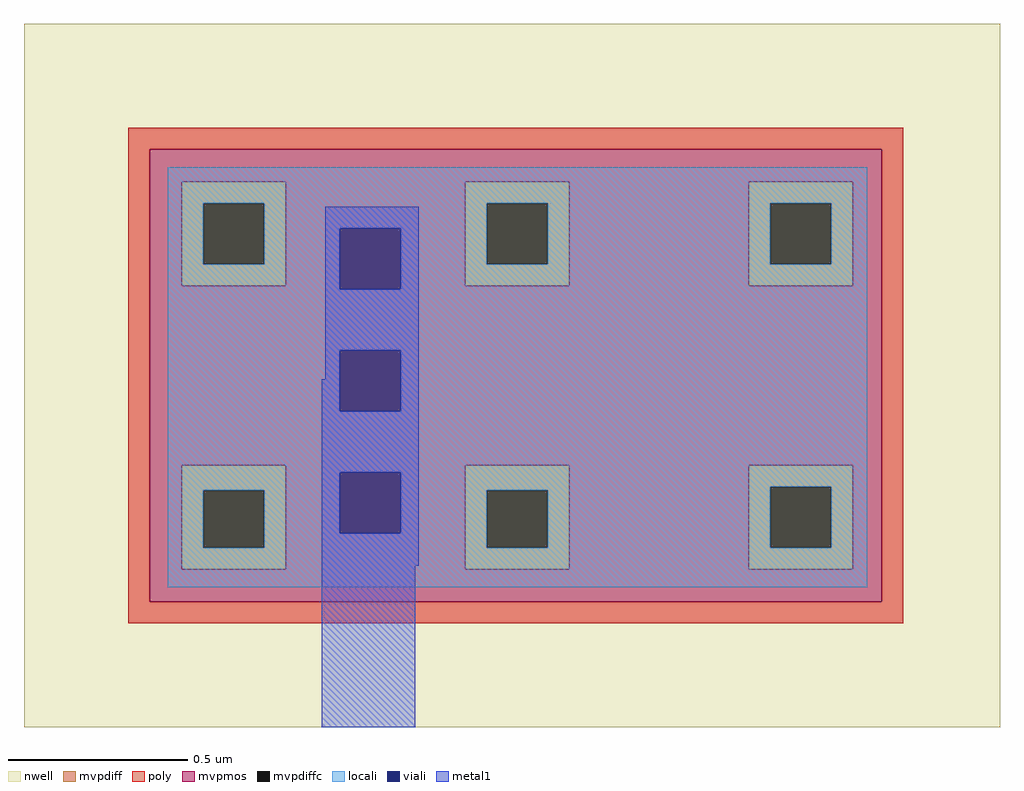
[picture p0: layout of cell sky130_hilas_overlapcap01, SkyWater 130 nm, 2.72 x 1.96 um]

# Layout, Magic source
magic
tech sky130A
<< nwell >>
rect -281 -65 -9 131
<< mvpmos >>
rect -246 87 -42 96
rect -246 58 -237 87
rect -208 58 -158 87
rect -129 58 -79 87
rect -50 58 -42 87
rect -246 8 -42 58
rect -246 -21 -237 8
rect -208 -21 -158 8
rect -129 -21 -79 8
rect -50 -21 -42 8
rect -246 -30 -42 -21
<< mvpdiff >>
rect -237 81 -208 87
rect -237 64 -231 81
rect -214 64 -208 81
rect -237 58 -208 64
rect -158 81 -129 87
rect -158 64 -152 81
rect -135 64 -129 81
rect -158 58 -129 64
rect -79 81 -50 87
rect -79 64 -73 81
rect -56 64 -50 81
rect -79 58 -50 64
rect -237 1 -208 8
rect -237 -15 -231 1
rect -214 -15 -208 1
rect -237 -21 -208 -15
rect -158 1 -129 8
rect -158 -15 -152 1
rect -135 -15 -129 1
rect -158 -21 -129 -15
rect -79 2 -50 8
rect -79 -15 -73 2
rect -56 -15 -50 2
rect -79 -21 -50 -15
<< mvpdiffc >>
rect -231 64 -214 81
rect -152 64 -135 81
rect -73 64 -56 81
rect -231 -15 -214 1
rect -152 -15 -135 1
rect -73 -15 -56 2
<< poly >>
rect -252 96 -36 102
rect -252 -30 -246 96
rect -42 -30 -36 96
rect -252 -36 -36 -30
<< locali >>
rect -241 81 -46 91
rect -241 64 -231 81
rect -214 74 -152 81
rect -214 64 -193 74
rect -241 57 -193 64
rect -176 64 -152 74
rect -135 64 -73 81
rect -56 64 -46 81
rect -176 57 -46 64
rect -241 40 -46 57
rect -241 23 -193 40
rect -176 23 -46 40
rect -241 6 -46 23
rect -241 1 -193 6
rect -241 -15 -231 1
rect -214 -11 -193 1
rect -176 2 -46 6
rect -176 1 -73 2
rect -176 -11 -152 1
rect -214 -15 -152 -11
rect -135 -15 -73 1
rect -56 -15 -46 2
rect -241 -26 -46 -15
<< viali >>
rect -193 57 -176 74
rect -193 23 -176 40
rect -193 -11 -176 6
<< metal1 >>
rect -197 74 -171 80
rect -197 57 -193 74
rect -176 57 -171 74
rect -197 40 -171 57
rect -197 32 -193 40
rect -198 23 -193 32
rect -176 23 -171 40
rect -198 6 -171 23
rect -198 -11 -193 6
rect -176 -11 -171 6
rect -198 -20 -171 -11
rect -198 -65 -172 -20
<< end >>
